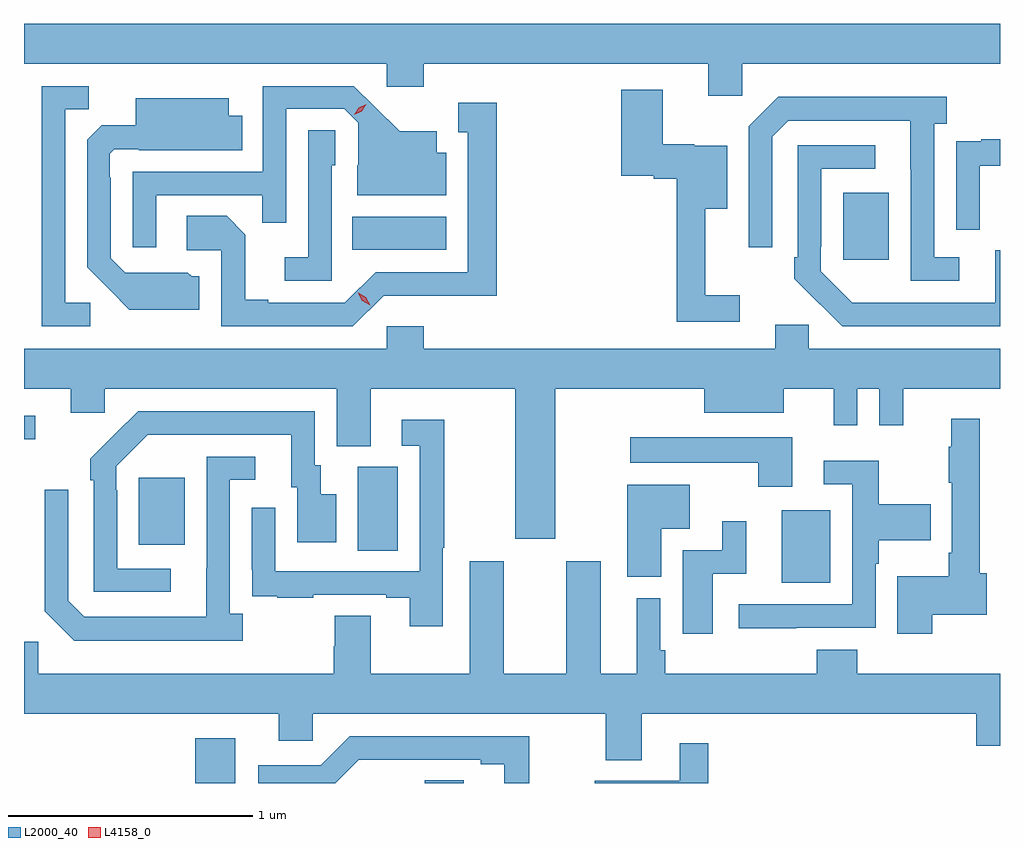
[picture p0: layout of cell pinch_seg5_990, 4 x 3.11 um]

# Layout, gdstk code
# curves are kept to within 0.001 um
import gdstk
lib = gdstk.Library(unit=1e-6, precision=1e-09)
def R(c, l, rs):  # rectangles x0, y0, x1, y1
    for r in rs: c.add(gdstk.rectangle(r[:2], r[2:], *l))
def P(c, l, *ps):  # polygons
    for p in ps: c.add(gdstk.Polygon(p, *l))
L2000_40 = (2000, 40)
L4158_0 = (4158, 0)

pinch_seg5_990 = lib.new_cell('pinch_seg5_990')
R(pinch_seg5_990, L2000_40, [(699.272,839.159,699.436,839.344), (700.212,839.159,700.372,839.171), (701.675,839.981,701.875,840.277), (699.938,840.112,700.102,840.456), (699.041,840.137,699.229,840.412), (698.57,840.569,698.617,840.666), (701.927,841.305,702.115,841.579), (699.916,841.346,700.3,841.48)])
P(pinch_seg5_990, L2000_40, [(701.514,842.108),(702.57,842.108),(702.57,842.272),(698.57,842.272),(698.57,842.108),(700.056,842.108),(700.056,842.013),(700.208,842.013),(700.208,842.108),(701.375,842.108),(701.375,841.977),(701.514,841.977)],
  [(698.842,841.128),(698.739,841.128),(698.739,841.921),(698.835,841.921),(698.835,842.016),(698.643,842.016),(698.643,841.032),(698.842,841.032)],
  [(699.111,841.569),(699.547,841.569),(699.547,841.456),(699.645,841.456),(699.645,841.923),(699.882,841.923),(699.939,841.866),(699.939,841.692),(699.935,841.692),(699.935,841.568),(700.3,841.568),(700.3,841.744),(700.261,841.744),(700.261,841.831),(700.109,841.831),(699.922,842.016),(699.549,842.016),(699.549,841.665),(699.015,841.665),(699.015,841.356),(699.111,841.356)],
  [(701.503,841.159),(701.363,841.159),(701.363,841.514),(701.452,841.514),(701.452,841.771),(701.316,841.771),(701.316,841.779),(701.188,841.779),(701.188,842.002),(701.018,842.002),(701.018,841.649),(701.151,841.649),(701.151,841.637),(701.245,841.637),(701.245,841.05),(701.503,841.05)],
  [(702.403,841.314),(702.3,841.314),(702.3,841.862),(702.352,841.862),(702.352,841.972),(701.662,841.972),(701.541,841.851),(701.541,841.356),(701.637,841.356),(701.637,841.809),(701.703,841.875),(702.203,841.875),(702.204,841.218),(702.403,841.218)],
  [(699.289,841.236),(699.258,841.236),(699.242,841.252),(698.985,841.251),(698.925,841.311),(698.925,841.64),(698.922,841.64),(698.922,841.74),(698.94,841.758),(699.04,841.758),(699.04,841.754),(699.464,841.754),(699.464,841.894),(699.409,841.894),(699.409,841.966),(699.029,841.966),(699.029,841.855),(698.888,841.855),(698.829,841.796),(698.829,841.274),(699.001,841.1),(699.289,841.1)],
  [(700.044,841.158),(700.507,841.157),(700.507,841.948),(700.349,841.948),(700.349,841.827),(700.388,841.827),(700.388,841.254),(700.011,841.254),(699.885,841.128),(699.571,841.128),(699.571,841.141),(699.477,841.141),(699.477,841.408),(699.401,841.484),(699.237,841.484),(699.237,841.344),(699.378,841.344),(699.378,841.032),(699.918,841.032)],
  [(699.831,841.692),(699.846,841.692),(699.846,841.835),(699.735,841.835),(699.735,841.315),(699.639,841.315),(699.639,841.218),(699.831,841.218)],
  [(702.486,841.689),(702.57,841.689),(702.57,841.798),(702.493,841.798),(702.493,841.791),(702.391,841.791),(702.391,841.682),(702.39,841.682),(702.39,841.428),(702.486,841.428)],
  [(702.57,841.344),(702.551,841.344),(702.551,841.128),(701.964,841.129),(701.835,841.257),(701.835,841.357),(701.838,841.357),(701.838,841.677),(702.058,841.677),(702.058,841.773),(701.742,841.773),(701.742,841.315),(701.727,841.315),(701.727,841.227),(701.924,841.032),(702.57,841.032)],
  [(700.747,840.776),(701.357,840.776),(701.357,840.677),(701.683,840.677),(701.683,840.776),(701.888,840.776),(701.888,840.627),(701.985,840.627),(701.985,840.776),(702.075,840.776),(702.075,840.627),(702.173,840.627),(702.173,840.776),(702.57,840.776),(702.57,840.94),(701.787,840.94),(701.787,841.038),(701.648,841.038),(701.648,840.94),(700.208,840.94),(700.208,841.033),(700.056,841.033),(700.056,840.94),(698.57,840.94),(698.57,840.776),(698.762,840.776),(698.762,840.678),(698.901,840.678),(698.901,840.776),(699.851,840.776),(699.851,840.541),(699.991,840.541),(699.991,840.776),(700.583,840.776),(700.583,840.162),(700.747,840.162)],
  [(699.172,840.039),(698.952,840.039),(698.952,840.359),(698.949,840.359),(698.949,840.459),(699.078,840.588),(699.665,840.588),(699.665,840.372),(699.689,840.372),(699.689,840.147),(699.85,840.147),(699.85,840.343),(699.787,840.343),(699.787,840.462),(699.762,840.462),(699.762,840.684),(699.038,840.684),(698.841,840.489),(698.841,840.401),(698.856,840.401),(698.856,839.943),(699.172,839.943)],
  [(702.293,839.849),(702.515,839.849),(702.515,840.02),(702.488,840.02),(702.488,840.652),(702.371,840.652),(702.371,840.539),(702.36,840.539),(702.36,840.391),(702.372,840.391),(702.372,840.103),(702.36,840.103),(702.36,840.007),(702.149,840.007),(702.149,839.772),(702.293,839.772)],
  [(700.287,840.124),(700.292,840.124),(700.292,840.649),(700.119,840.649),(700.119,840.543),(700.191,840.543),(700.191,840.027),(699.6,840.027),(699.6,840.289),(699.504,840.289),(699.504,840.034),(699.505,840.034),(699.505,839.925),(699.607,839.925),(699.607,839.919),(699.755,839.919),(699.755,839.931),(700.055,839.931),(700.055,839.919),(700.151,839.919),(700.151,839.802),(700.287,839.802)],
  [(701.719,840.577),(701.055,840.577),(701.055,840.473),(701.579,840.473),(701.579,840.375),(701.719,840.375)],
  [(699.466,839.854),(699.414,839.854),(699.414,840.402),(699.517,840.402),(699.517,840.498),(699.318,840.498),(699.317,839.841),(698.817,839.841),(698.751,839.907),(698.751,840.361),(698.655,840.361),(698.655,839.865),(698.776,839.744),(699.466,839.744)],
  [(701.735,839.796),(702.06,839.796),(702.06,840.059),(702.073,840.059),(702.073,840.155),(702.287,840.155),(702.287,840.303),(702.073,840.303),(702.073,840.481),(701.847,840.481),(701.847,840.384),(701.964,840.384),(701.964,839.892),(701.499,839.892),(701.499,839.795),(701.735,839.795)],
  [(701.182,840.203),(701.299,840.203),(701.299,840.382),(701.042,840.382),(701.042,840.006),(701.182,840.006)],
  [(701.392,840.018),(701.53,840.018),(701.53,840.232),(701.432,840.232),(701.432,840.114),(701.27,840.114),(701.27,839.772),(701.392,839.772)],
  [(700.954,839.254),(701.101,839.254),(701.101,839.444),(702.473,839.444),(702.473,839.313),(702.57,839.313),(702.57,839.608),(701.984,839.608),(701.984,839.707),(701.819,839.707),(701.819,839.608),(701.198,839.608),(701.198,839.704),(701.178,839.704),(701.178,839.917),(701.081,839.917),(701.081,839.608),(700.933,839.608),(700.933,840.07),(700.793,840.07),(700.793,839.608),(700.537,839.608),(700.537,840.07),(700.397,840.07),(700.397,839.608),(699.991,839.608),(699.991,839.846),(699.844,839.846),(699.844,839.721),(699.839,839.721),(699.839,839.608),(698.628,839.608),(698.628,839.74),(698.57,839.74),(698.57,839.444),(699.614,839.444),(699.614,839.334),(699.753,839.334),(699.753,839.444),(700.954,839.444)],
  [(699.942,839.256),(700.442,839.256),(700.442,839.236),(700.538,839.236),(700.538,839.159),(700.64,839.159),(700.64,839.352),(699.906,839.352),(699.786,839.232),(699.531,839.232),(699.531,839.159),(699.845,839.159)],
  [(701.375,839.323),(701.258,839.323),(701.258,839.169),(700.909,839.169),(700.909,839.159),(701.375,839.159)])
P(pinch_seg5_990, L4158_0, [(699.989,841.118),(699.957,841.136),(699.939,841.168),(699.939,841.169),(699.94,841.169),(699.971,841.15),(699.989,841.118),(699.989,841.118)],
  [(699.924,841.898),(699.924,841.898),(699.941,841.927),(699.972,841.942),(699.972,841.942),(699.972,841.942),(699.955,841.913),(699.924,841.898)])

lib.write_gds('pinch_seg5_990.gds')
